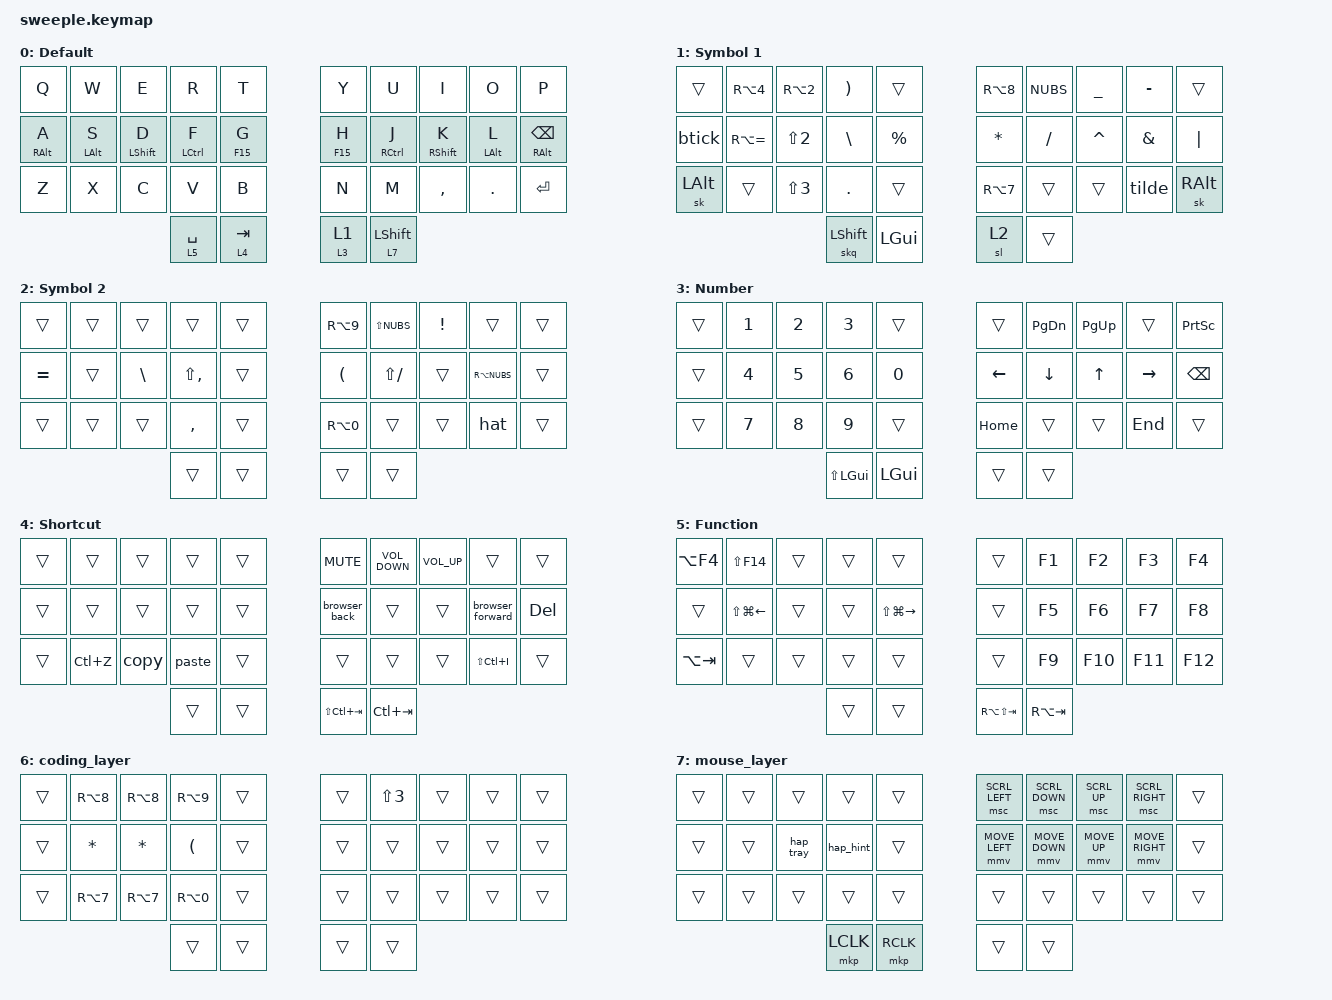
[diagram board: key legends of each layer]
#include <dt-bindings/zmk/hid_usage.h>
#include <dt-bindings/zmk/hid_usage_pages.h>
#include <dt-bindings/zmk/modifiers.h>
#include <behaviors.dtsi>
#include <dt-bindings/zmk/keys.h>
#include <dt-bindings/zmk/pointing.h>

#define DK_AE    SEMICOLON           // Æ
#define DK_OE    SINGLE_QUOTE        // Ø
#define DK_AA    LEFT_BRACKET        // Å
#define DK_QUOT  DOUBLE_QUOTES       // "
#define DK_PLUS  EQUALS              // +
#define DK_MINS  MINUS               // -
#define DK_SCLN  ALTGR(COMMA)        // ; on AltGr + ,
#define DK_COLN  ALTGR(PERIOD)       // : on AltGr + .
#define DK_UNDS  UNDERSCORE          // _
#define DK_COMM  COMMA               // ,
#define DK_DOT   PERIOD              // .
#define DK_LPRN  LEFT_PAREN          // (
#define DK_RPRN  RIGHT_PAREN         // )
#define DK_LCBR  ALTGR(DIGIT7)       // { on AltGr + 7
#define DK_RCBR  ALTGR(DIGIT0)       // } on AltGr + 0
#define DK_PIPE  ALTGR(DIGIT1)       // | on AltGr + 1
#define DK_AMPR  AMPERSAND           // &
#define DK_HASH  ALTGR(RIGHT_BRACE)  // # on AltGr + '
#define DK_AT    ALTGR(DIGIT2)       // @ on AltGr + 2
#define DK_DLR   ALTGR(DIGIT4)       // $ on AltGr + 4
#define DK_EURO  ALTGR(DIGIT5)       // € on AltGr + 5
#define DK_LBKT  ALTGR(DIGIT8)       // [ on AltGr + 8
#define DK_RBKT  ALTGR(DIGIT9)       // ] on AltGr + 9
#define DK_BSLS  ALTGR(MINUS)        // \ on AltGr + -
#define DK_LESS  SHIFT(COMMA)        // < on Shift + ,
#define DK_GRTR  SHIFT(PERIOD)       // > on Shift + .
#define DK_QUES  SHIFT(MINUS)        // ? on Shift + -
#define DK_EXLM  SHIFT(DIGIT1)       // ! on Shift + 1
#define DK_DQUO  SHIFT(DIGIT2)       // " on Shift + 2

&mt { tapping-term-ms = <400>; };

&lt {
    flavor = "tap-preferred";
    quick-tap-ms = <175>;
    tapping-term-ms = <280>;
    require-prior-idle-ms = <150>;
};

/ {
    input_configs { compatible = "zmk,input-configs"; };

    behaviors {
        htl: hold_tap_leader {
            label = "leader_hold_tap";
            compatible = "zmk,behavior-hold-tap";
            #binding-cells = <2>;
            flavor = "tap-preferred";
            tapping-term-ms = <200>;
            bindings = <&mo>, <&sl>;
        };

        skq: sticky_key_quick_release {
            compatible = "zmk,behavior-sticky-key";
            label = "STICKY_KEY_QUICK_RELEASE";
            #binding-cells = <1>;
            bindings = <&kp>;
            release-after-ms = <1000>;
            quick-release;
            ignore-modifiers;
        };

        hml: homerow_mods_left {
            compatible = "zmk,behavior-hold-tap";
            label = "homerow_mods_left";
            bindings = <&kp>, <&kp>;

            #binding-cells = <2>;
            tapping-term-ms = <280>;
            flavor = "balanced";
            quick-tap-ms = <175>;
            hold-trigger-key-positions = <5 6 7 8 9 15 16 17 18 19 25 26 27 28 29 30 31 32 33 11 12 13>;
            require-prior-idle-ms = <150>;
            hold-trigger-on-release;
        };

        hmr: homerow_mods_right {
            compatible = "zmk,behavior-hold-tap";
            label = "homerow_mods_right";
            bindings = <&kp>, <&kp>;

            #binding-cells = <2>;
            tapping-term-ms = <280>;
            flavor = "balanced";
            quick-tap-ms = <175>;
            hold-trigger-key-positions = <0 1 2 3 4 10 11 12 13 14 20 21 22 23 24 30 31 32 33 16 17 18>;
            require-prior-idle-ms = <150>;
            hold-trigger-on-release;
        };

        hskq: hold_sticky_quick_release {
            compatible = "zmk,behavior-hold-tap";
            label = "hold_sticky_quick_release";
            bindings = <&mo>, <&skq>;

            #binding-cells = <2>;
            flavor = "tap-preferred";
            tapping-term-ms = <200>;
        };
    };

    macros {
        tilde: tilde {
            label = "macro_tilde";
            compatible = "zmk,behavior-macro";
            #binding-cells = <0>;
            bindings = <&kp RA(RBKT) &kp SPACE>;
        };

        btick: btick {
            label = "macro_btick";
            compatible = "zmk,behavior-macro";
            #binding-cells = <0>;
            bindings = <&kp PLUS &kp SPACE>;
        };

        hat: hat {
            label = "macro_hat";
            compatible = "zmk,behavior-macro";
            #binding-cells = <0>;
            bindings = <&kp RBRC &kp SPACE>;
        };

        copy: copy {
            label = "macro_copy";
            compatible = "zmk,behavior-macro";
            #binding-cells = <0>;
            bindings = <&kp LC(C)>;
        };

        paste: paste {
            label = "macro_paste";
            compatible = "zmk,behavior-macro";
            #binding-cells = <0>;
            bindings = <&kp LC(V)>;
        };

        browser_back: browser_back {
            compatible = "zmk,behavior-macro";
            #binding-cells = <0>;
            bindings =
                <&macro_press>,
                <&kp LEFT_ALT>,
                <&macro_tap>,
                <&kp LEFT_ARROW>,
                <&macro_release>,
                <&kp LEFT_ALT>;

            label = "BROWSER_BACK";
        };

        browser_forward: browser_forward {
            compatible = "zmk,behavior-macro";
            #binding-cells = <0>;
            bindings =
                <&macro_press>,
                <&kp LEFT_ALT>,
                <&macro_tap>,
                <&kp RIGHT>,
                <&macro_release>,
                <&kp LEFT_ALT>;

            label = "BROWSER_FORWARD";
        };

        hap_hint: hap_hint {
            compatible = "zmk,behavior-macro";
            #binding-cells = <0>;
            bindings =
                <&macro_press>,
                <&kp LEFT_ALT>,
                <&macro_tap>,
                <&kp F13>,
                <&macro_release>,
                <&kp LEFT_ALT>;

            label = "HAP_HINT";
        };

        hap_tray: hap_tray {
            compatible = "zmk,behavior-macro";
            #binding-cells = <0>;
            bindings =
                <&macro_press>,
                <&kp LCTRL>,
                <&macro_tap>,
                <&kp F13>,
                <&macro_release>,
                <&kp LCTRL>;

            label = "HAP_TRAY";
        };

        /**
        * Temporarily switches to a layer (`&mo`) while a modifier is held.
        * Analogous to QMK's `LM()`, using a parameterized macro.
        *
        * Params:
        *  1. Layer to switch to
        *  2. Modifier to press while layer is active
        *
        * Example:
        *  `&lm NUM_LAYER LSHIFT`
        */
    };

    combos {
        compatible = "zmk,combos";

        combo_aa {
            timeout-ms = <30>;
            key-positions = <27 28>;
            layers = <0>;
            bindings = <&kp LBKT>;
        };

        combo_ae {
            timeout-ms = <30>;
            key-positions = <7 8>;
            layers = <0>;
            bindings = <&kp SEMI>;
        };

        combo_oe {
            timeout-ms = <30>;
            key-positions = <17 18>;
            layers = <0>;
            bindings = <&kp SQT>;
        };

        Bootloader-Left {
            bindings = <&bootloader>;
            key-positions = <0 4>;
        };

        Bootloader-Right {
            bindings = <&bootloader>;
            key-positions = <5 9>;
        };

        combo_escape {
            bindings = <&kp ESCAPE>;
            key-positions = <10 19>;
            timeout-ms = <150>;
            require-prior-idle-ms = <100>;
        };

        combo_capsword {
            bindings = <&caps_word>;
            key-positions = <20 29>;
            timeout-ms = <150>;
            require-prior-idle-ms = <200>;
            layers = <0>;
        };

        jk_escape {
            bindings = <&hmr LC(LEFT_SHIFT) ESCAPE>;
            key-positions = <16 17>;
            timeout-ms = <50>;
            layers = <0>;
            require-prior-idle-ms = <100>;
            slow-release;
        };
    };

    keymap {
        compatible = "zmk,keymap";

        default_layer {
            bindings = <
&kp Q             &kp W            &kp E              &kp R                &kp T       &kp Y       &kp U                 &kp I               &kp O            &kp P
&hml RIGHT_ALT A  &hml LEFT_ALT S  &hml LEFT_SHIFT D  &hml LEFT_CONTROL F  &hml F15 G  &hmr F15 H  &hmr RIGHT_CONTROL J  &hmr RIGHT_SHIFT K  &hmr LEFT_ALT L  &hmr RIGHT_ALT BACKSPACE
&kp Z             &kp X            &kp C              &kp V                &kp B       &kp N       &kp M                 &kp COMMA           &kp DOT          &kp ENTER
                                                      &lt 5 SPACE          &lt 4 TAB   &htl 3 1    &hskq 7 LEFT_SHIFT
            >;

            label = "Default";
        };

        symbol_1_layer {
            bindings = <
&trans    &kp RA(N4)     &kp RA(N2)  &kp RPAR       &trans     &kp RA(NUMBER_8)  &kp NUBS  &kp UNDER  &kp MINUS  &trans
&btick    &kp RA(EQUAL)  &kp LS(N2)  &kp BACKSLASH  &kp PRCNT  &kp ASTRK         &kp FSLH  &kp CARET  &kp AMPS   &kp PIPE
&sk LALT  &trans         &kp LS(N3)  &kp DOT        &trans     &kp RA(NUMBER_7)  &trans    &trans     &tilde     &sk RIGHT_ALT
                                     &skq LSHIFT    &kp LGUI   &sl 2             &trans
            >;

            label = "Symbol 1";
        };

        symbol_2_layer {
            bindings = <
&trans     &trans  &trans    &trans         &trans  &kp RA(NUMBER_9)  &kp LS(NUBS)  &kp EXCL  &trans        &trans
&kp EQUAL  &trans  &kp BSLH  &kp LS(COMMA)  &trans  &kp LPAR          &kp LS(FSLH)  &trans    &kp RA(NUBS)  &trans
&trans     &trans  &trans    &kp COMMA      &trans  &kp RA(NUMBER_0)  &trans        &trans    &hat          &trans
                             &trans         &trans  &trans            &trans
            >;

            label = "Symbol 2";
        };

        number_navigation_layer {
            bindings = <
&trans  &kp N1  &kp N2  &kp N3            &trans    &trans          &kp PAGE_DOWN   &kp PAGE_UP   &trans           &kp PRINTSCREEN
&trans  &kp N4  &kp N5  &kp N6            &kp N0    &kp LEFT_ARROW  &kp DOWN_ARROW  &kp UP_ARROW  &kp RIGHT_ARROW  &kp BACKSPACE
&trans  &kp N7  &kp N8  &kp N9            &trans    &kp HOME        &trans          &trans        &kp END          &trans
                        &kp LS(LEFT_GUI)  &kp LGUI  &trans          &trans
            >;

            label = "Number";
        };

        shortcut_layer {
            bindings = <
&trans  &trans     &trans  &trans  &trans  &kp C_MUTE       &kp C_VOLUME_DOWN  &kp C_VOLUME_UP  &trans            &trans
&trans  &trans     &trans  &trans  &trans  &browser_back    &trans             &trans           &browser_forward  &kp DEL
&trans  &kp LC(Z)  &copy   &paste  &trans  &trans           &trans             &trans           &kp LS(LC(I))     &trans
                           &trans  &trans  &kp LS(LC(TAB))  &kp LC(TAB)
            >;

            label = "Shortcut";
        };

        function_layer {
            bindings = <
&kp LA(F4)   &kp LS(F14)             &trans  &trans  &trans                   &trans           &kp F1       &kp F2   &kp F3   &kp F4
&trans       &kp LS(LG(LEFT_ARROW))  &trans  &trans  &kp LS(LG(RIGHT_ARROW))  &trans           &kp F5       &kp F6   &kp F7   &kp F8
&kp LA(TAB)  &trans                  &trans  &trans  &trans                   &trans           &kp F9       &kp F10  &kp F11  &kp F12
                                             &trans  &trans                   &kp RA(LS(TAB))  &kp RA(TAB)
            >;

            label = "Function";
        };

        coding_layer {
            bindings = <
&trans  &kp RA(N8)    &kp RA(N8)    &kp RA(N9)            &trans  &trans  &kp LS(NUMBER_3)  &trans  &trans  &trans
&trans  &kp ASTERISK  &kp ASTERISK  &kp LEFT_PARENTHESIS  &trans  &trans  &trans            &trans  &trans  &trans
&trans  &kp RA(N7)    &kp RA(N7)    &kp RA(N0)            &trans  &trans  &trans            &trans  &trans  &trans
                                    &trans                &trans  &trans  &trans
            >;
        };

        mouse_layer {
            bindings = <
&trans  &trans  &trans     &trans     &trans     &msc SCRL_LEFT  &msc SCRL_DOWN  &msc SCRL_UP  &msc SCRL_RIGHT  &trans
&trans  &trans  &hap_tray  &hap_hint  &trans     &mmv MOVE_LEFT  &mmv MOVE_DOWN  &mmv MOVE_UP  &mmv MOVE_RIGHT  &trans
&trans  &trans  &trans     &trans     &trans     &trans          &trans          &trans        &trans           &trans
                           &mkp LCLK  &mkp RCLK  &trans          &trans
            >;
        };
    };
};
